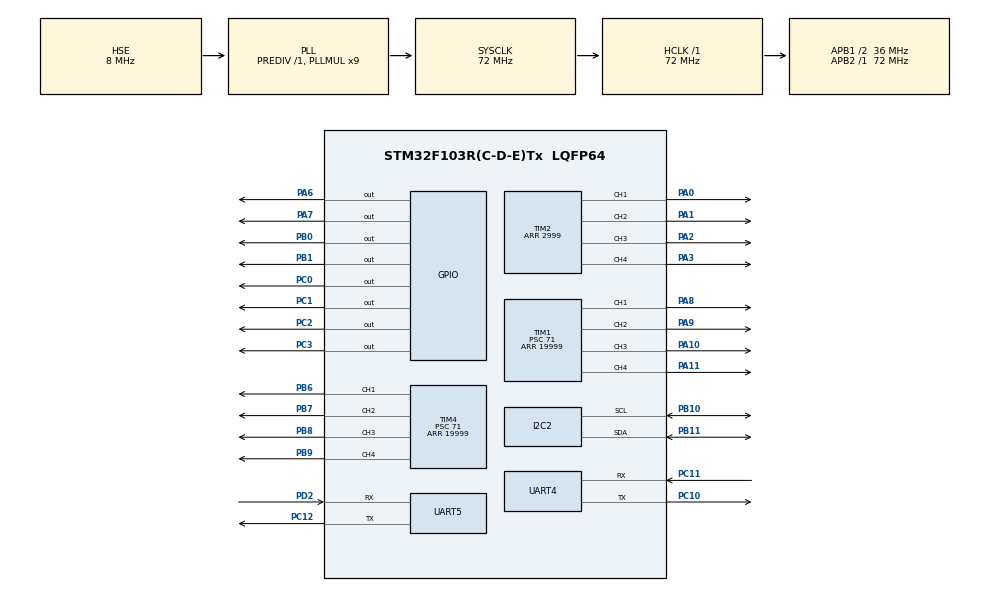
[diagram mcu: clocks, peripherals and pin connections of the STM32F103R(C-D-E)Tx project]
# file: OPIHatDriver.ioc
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Mcu.Family=STM32F1
Mcu.Name=STM32F103R(C-D-E)Tx
Mcu.Package=LQFP64
NVIC.PriorityGroup=NVIC_PRIORITYGROUP_4
NVIC.TIM5_IRQn=true\:15\:0\:true\:false\:true\:true\:true\:true
NVIC.UART5_IRQn=true\:3\:0\:true\:false\:true\:true\:true\:true
PA0-WKUP.Signal=S_TIM2_CH1_ETR
PA1.Signal=S_TIM2_CH2
PA10.Signal=S_TIM1_CH3
PA11.Signal=S_TIM1_CH4
PA2.Signal=S_TIM2_CH3
PA3.Signal=S_TIM2_CH4
PA6.GPIO_Speed=GPIO_SPEED_FREQ_LOW
PA6.PinState=GPIO_PIN_RESET
PA6.Signal=GPIO_Output
PA7.GPIO_Speed=GPIO_SPEED_FREQ_LOW
PA7.Signal=GPIO_Output
PA8.Signal=S_TIM1_CH1
PA9.Signal=S_TIM1_CH2
PB0.Signal=GPIO_Output
PB1.Signal=GPIO_Output
PB10.Mode=I2C
PB10.Signal=I2C2_SCL
PB11.Mode=I2C
PB11.Signal=I2C2_SDA
PB6.Signal=S_TIM4_CH1
PB7.Signal=S_TIM4_CH2
PB8.Signal=S_TIM4_CH3
PB9.Signal=S_TIM4_CH4
PC0.Signal=GPIO_Output
PC1.Signal=GPIO_Output
PC10.Mode=Asynchronous
PC10.Signal=UART4_TX
PC11.Mode=Asynchronous
PC11.Signal=UART4_RX
PC12.Mode=Asynchronous
PC12.Signal=UART5_TX
PC2.Signal=GPIO_Output
PC3.Signal=GPIO_Output
PD0-OSC_IN.Mode=HSE-External-Oscillator
PD0-OSC_IN.Signal=RCC_OSC_IN
PD1-OSC_OUT.Mode=HSE-External-Oscillator
PD1-OSC_OUT.Signal=RCC_OSC_OUT
PD2.Mode=Asynchronous
PD2.Signal=UART5_RX
ProjectManager.HeapSize=0x200
ProjectManager.StackSize=0x400
ProjectManager.TargetToolchain=STM32CubeIDE
RCC.AHBFreq_Value=72000000
RCC.APB1CLKDivider=RCC_HCLK_DIV2
RCC.APB1Freq_Value=36000000
RCC.APB1TimFreq_Value=72000000
RCC.APB2Freq_Value=72000000
RCC.APB2TimFreq_Value=72000000
RCC.HCLKFreq_Value=72000000
RCC.PLLMUL=RCC_PLL_MUL9
RCC.PLLSourceVirtual=RCC_PLLSOURCE_HSE
RCC.SYSCLKFreq_VALUE=72000000
RCC.SYSCLKSource=RCC_SYSCLKSOURCE_PLLCLK
RCC.USBFreq_Value=72000000
SH.S_TIM1_CH1.0=TIM1_CH1,PWM Generation1 CH1
SH.S_TIM1_CH2.0=TIM1_CH2,PWM Generation2 CH2
SH.S_TIM1_CH3.0=TIM1_CH3,PWM Generation3 CH3
SH.S_TIM1_CH4.0=TIM1_CH4,PWM Generation4 CH4
SH.S_TIM2_CH1_ETR.0=TIM2_CH1,PWM Generation1 CH1
SH.S_TIM2_CH2.0=TIM2_CH2,PWM Generation2 CH2
SH.S_TIM2_CH3.0=TIM2_CH3,PWM Generation3 CH3
SH.S_TIM2_CH4.0=TIM2_CH4,PWM Generation4 CH4
SH.S_TIM4_CH1.0=TIM4_CH1,PWM Generation1 CH1
SH.S_TIM4_CH2.0=TIM4_CH2,PWM Generation2 CH2
SH.S_TIM4_CH3.0=TIM4_CH3,PWM Generation3 CH3
SH.S_TIM4_CH4.0=TIM4_CH4,PWM Generation4 CH4
TIM1.Channel-PWM\ Generation1\ CH1=TIM_CHANNEL_1
TIM1.Channel-PWM\ Generation2\ CH2=TIM_CHANNEL_2
TIM1.Channel-PWM\ Generation3\ CH3=TIM_CHANNEL_3
TIM1.Channel-PWM\ Generation4\ CH4=TIM_CHANNEL_4
TIM1.Period=19999
TIM1.Prescaler=71
TIM1.Pulse-PWM\ Generation1\ CH1=1500
TIM1.Pulse-PWM\ Generation2\ CH2=1500
TIM1.Pulse-PWM\ Generation3\ CH3=1500
TIM1.Pulse-PWM\ Generation4\ CH4=1500
TIM2.Channel-PWM\ Generation1\ CH1=TIM_CHANNEL_1
TIM2.Channel-PWM\ Generation2\ CH2=TIM_CHANNEL_2
TIM2.Channel-PWM\ Generation3\ CH3=TIM_CHANNEL_3
TIM2.Channel-PWM\ Generation4\ CH4=TIM_CHANNEL_4
TIM2.Period=2999
TIM4.Channel-PWM\ Generation1\ CH1=TIM_CHANNEL_1
TIM4.Channel-PWM\ Generation2\ CH2=TIM_CHANNEL_2
TIM4.Channel-PWM\ Generation3\ CH3=TIM_CHANNEL_3
TIM4.Channel-PWM\ Generation4\ CH4=TIM_CHANNEL_4
TIM4.Period=19999
TIM4.Prescaler=71
TIM4.Pulse-PWM\ Generation1\ CH1=1500
TIM4.Pulse-PWM\ Generation2\ CH2=1500
TIM4.Pulse-PWM\ Generation3\ CH3=1500
TIM4.Pulse-PWM\ Generation4\ CH4=1500
TIM5.Period=9999
TIM5.Prescaler=71
UART4.VirtualMode=Asynchronous
UART5.VirtualMode=Asynchronous
VP_TIM1_VS_ClockSourceINT.Mode=Internal
VP_TIM2_VS_ClockSourceINT.Mode=Internal
VP_TIM4_VS_ClockSourceINT.Mode=Internal
VP_TIM5_VS_ClockSourceINT.Mode=Internal
board=custom

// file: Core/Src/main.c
/* USER CODE BEGIN Header */
/**
  ******************************************************************************
  * @file           : main.c
  * @brief          : Main program body
  ******************************************************************************
  * @attention
  *
  * Copyright (c) 2023 STMicroelectronics.
  * All rights reserved.
  *
  * This software is licensed under terms that can be found in the LICENSE file
  * in the root directory of this software component.
  * If no LICENSE file comes with this software, it is provided AS-IS.
  *
  ******************************************************************************
  */
/* USER CODE END Header */
#include "main.h"
#include "i2c.h"
#include "tim.h"
#include "usart.h"
#include "gpio.h"

/* USER CODE BEGIN Includes */
#include "motor.h"
#include "servo.h"
#include "communicate.h"
#include "battery_monitor.h"
#include <stdio.h>
/* USER CODE END Includes */

void SystemClock_Config(void);

/* USER CODE BEGIN 0 */
#define UPDATE_PERIOD 300
#define WATCHDOG_PERIOD 1000
#define CONTROL_PERIOD 100

uint32_t last_control = 0, last_send = 0;

void fail_safe(){
    for(int i=0;i<4;i++){
        motors[i] = 0;
    }
}

void do_tasks(){
    if(HAL_GetTick() > last_send + UPDATE_PERIOD){
        last_send = HAL_GetTick();
        update_status();
    }
    if(HAL_GetTick() > last_recv + WATCHDOG_PERIOD){
      last_recv = HAL_GetTick();
      fail_safe();
      start_cmd_receive();
    }
    if(HAL_GetTick() > last_control + CONTROL_PERIOD){
      last_control = HAL_GetTick();
        set_motors(motors);
        set_servos(servos);
    }
}
/* USER CODE END 0 */

int main(void)
{

  /* MCU Configuration--------------------------------------------------------*/

  /* Reset of all peripherals, Initializes the Flash interface and the Systick. */
  HAL_Init();

  /* Configure the system clock */
  SystemClock_Config();

  /* Initialize all configured peripherals */
  MX_GPIO_Init();
  MX_I2C2_Init();
  MX_TIM1_Init();
  MX_TIM2_Init();
  MX_TIM4_Init();
  MX_TIM5_Init();
  MX_UART4_Init();
  MX_UART5_Init();
  /* USER CODE BEGIN 2 */
  start_battery_monitor();
  start_cmd_receive();
  HAL_TIM_Base_Start(&htim1);
  HAL_TIM_PWM_Start(&htim1, TIM_CHANNEL_1);
  HAL_TIM_PWM_Start(&htim1, TIM_CHANNEL_2);
  HAL_TIM_PWM_Start(&htim1, TIM_CHANNEL_3);
  HAL_TIM_PWM_Start(&htim1, TIM_CHANNEL_4);
  HAL_TIM_Base_Start(&htim2);
  HAL_TIM_PWM_Start(&htim2, TIM_CHANNEL_1);
  HAL_TIM_PWM_Start(&htim2, TIM_CHANNEL_2);
  HAL_TIM_PWM_Start(&htim2, TIM_CHANNEL_3);
  HAL_TIM_PWM_Start(&htim2, TIM_CHANNEL_4);
  HAL_TIM_Base_Start(&htim4);
  HAL_TIM_PWM_Start(&htim4, TIM_CHANNEL_1);
  HAL_TIM_PWM_Start(&htim4, TIM_CHANNEL_2);
  HAL_TIM_PWM_Start(&htim4, TIM_CHANNEL_3);
  HAL_TIM_PWM_Start(&htim4, TIM_CHANNEL_4);
  HAL_TIM_Base_Start_IT(&htim5);
  /* USER CODE END 2 */

  /* Infinite loop */
  while (1)
  {

  }
}

void SystemClock_Config(void)
{
  RCC_OscInitTypeDef RCC_OscInitStruct = {0};
  RCC_ClkInitTypeDef RCC_ClkInitStruct = {0};

  /** Initializes the RCC Oscillators according to the specified parameters
  * in the RCC_OscInitTypeDef structure.
  */
  RCC_OscInitStruct.OscillatorType = RCC_OSCILLATORTYPE_HSE;
  RCC_OscInitStruct.HSEState = RCC_HSE_ON;
  RCC_OscInitStruct.HSEPredivValue = RCC_HSE_PREDIV_DIV1;
  RCC_OscInitStruct.HSIState = RCC_HSI_ON;
  RCC_OscInitStruct.PLL.PLLState = RCC_PLL_ON;
  RCC_OscInitStruct.PLL.PLLSource = RCC_PLLSOURCE_HSE;
  RCC_OscInitStruct.PLL.PLLMUL = RCC_PLL_MUL9;
  if (HAL_RCC_OscConfig(&RCC_OscInitStruct) != HAL_OK)
  {
    Error_Handler();
  }

  /** Initializes the CPU, AHB and APB buses clocks
  */
  RCC_ClkInitStruct.ClockType = RCC_CLOCKTYPE_HCLK|RCC_CLOCKTYPE_SYSCLK
                              |RCC_CLOCKTYPE_PCLK1|RCC_CLOCKTYPE_PCLK2;
  RCC_ClkInitStruct.SYSCLKSource = RCC_SYSCLKSOURCE_PLLCLK;
  RCC_ClkInitStruct.AHBCLKDivider = RCC_SYSCLK_DIV1;
  RCC_ClkInitStruct.APB1CLKDivider = RCC_HCLK_DIV2;
  RCC_ClkInitStruct.APB2CLKDivider = RCC_HCLK_DIV1;

  if (HAL_RCC_ClockConfig(&RCC_ClkInitStruct, FLASH_LATENCY_2) != HAL_OK)
  {
    Error_Handler();
  }
}

void Error_Handler(void)
{
  __disable_irq();
  while (1)
  {
  }
}
